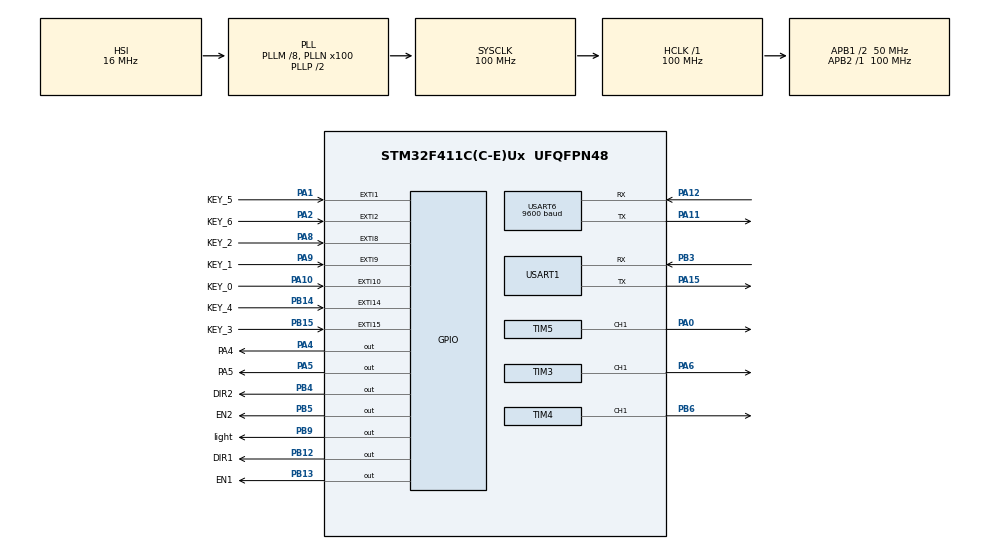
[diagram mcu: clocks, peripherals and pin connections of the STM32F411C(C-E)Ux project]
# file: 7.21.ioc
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Mcu.Family=STM32F4
Mcu.Name=STM32F411C(C-E)Ux
Mcu.Package=UFQFPN48
NVIC.PriorityGroup=NVIC_PRIORITYGROUP_4
NVIC.TIM2_IRQn=true\:0\:0\:false\:false\:true\:true\:true\:true
NVIC.USART1_IRQn=true\:0\:0\:false\:false\:true\:true\:true\:true
NVIC.USART6_IRQn=true\:0\:0\:false\:false\:true\:true\:true\:true
PA0-WKUP.Signal=S_TIM5_CH1
PA1.GPIO_Label=KEY_5
PA1.GPIO_PuPd=GPIO_PULLDOWN
PA1.Signal=GPXTI1
PA10.GPIO_Label=KEY_0
PA10.GPIO_PuPd=GPIO_PULLDOWN
PA10.Signal=GPXTI10
PA11.Mode=Asynchronous
PA11.Signal=USART6_TX
PA12.Mode=Asynchronous
PA12.Signal=USART6_RX
PA13.Mode=Serial_Wire
PA13.Signal=SYS_JTMS-SWDIO
PA14.Mode=Serial_Wire
PA14.Signal=SYS_JTCK-SWCLK
PA15.Mode=Asynchronous
PA15.Signal=USART1_TX
PA2.GPIO_Label=KEY_6
PA2.GPIO_PuPd=GPIO_PULLDOWN
PA2.Signal=GPXTI2
PA4.GPIO_Label=PA4
PA4.Signal=GPIO_Output
PA5.GPIO_Label=PA5
PA5.Signal=GPIO_Output
PA6.Signal=S_TIM3_CH1
PA8.GPIO_Label=KEY_2
PA8.GPIO_PuPd=GPIO_PULLDOWN
PA8.Signal=GPXTI8
PA9.GPIO_Label=KEY_1
PA9.GPIO_PuPd=GPIO_PULLDOWN
PA9.Signal=GPXTI9
PB12.GPIO_Label=DIR1
PB12.GPIO_PuPd=GPIO_PULLUP
PB12.Signal=GPIO_Output
PB13.GPIO_Label=EN1
PB13.GPIO_PuPd=GPIO_PULLUP
PB13.Signal=GPIO_Output
PB14.GPIO_Label=KEY_4
PB14.GPIO_PuPd=GPIO_PULLDOWN
PB14.Signal=GPXTI14
PB15.GPIO_Label=KEY_3
PB15.GPIO_PuPd=GPIO_PULLDOWN
PB15.Signal=GPXTI15
PB3.Mode=Asynchronous
PB3.Signal=USART1_RX
PB4.GPIO_Label=DIR2
PB4.GPIO_PuPd=GPIO_PULLUP
PB4.Signal=GPIO_Output
PB5.GPIO_Label=EN2
PB5.GPIO_PuPd=GPIO_PULLUP
PB5.Signal=GPIO_Output
PB6.Signal=S_TIM4_CH1
PB9.GPIO_Label=light
PB9.GPIO_PuPd=GPIO_PULLDOWN
PB9.GPIO_Speed=GPIO_SPEED_FREQ_LOW
PB9.PinState=GPIO_PIN_RESET
PB9.Signal=GPIO_Output
PH0\ -\ OSC_IN.Mode=HSE-External-Oscillator
PH0\ -\ OSC_IN.Signal=RCC_OSC_IN
PH1\ -\ OSC_OUT.Mode=HSE-External-Oscillator
PH1\ -\ OSC_OUT.Signal=RCC_OSC_OUT
ProjectManager.HeapSize=0x200
ProjectManager.StackSize=0x400
ProjectManager.TargetToolchain=MDK-ARM V5.32
RCC.48MHZClocksFreq_Value=50000000
RCC.AHBFreq_Value=100000000
RCC.APB1CLKDivider=RCC_HCLK_DIV2
RCC.APB1Freq_Value=50000000
RCC.APB1TimFreq_Value=100000000
RCC.APB2Freq_Value=100000000
RCC.APB2TimFreq_Value=100000000
RCC.CortexFreq_Value=100000000
RCC.HCLKFreq_Value=100000000
RCC.HSE_VALUE=25000000
RCC.HSI_VALUE=16000000
RCC.LSE_VALUE=32768
RCC.PLLM=8
RCC.PLLN=100
RCC.SYSCLKFreq_VALUE=100000000
RCC.SYSCLKSource=RCC_SYSCLKSOURCE_PLLCLK
RCC.VCOOutputFreq_Value=200000000
SH.S_TIM3_CH1.0=TIM3_CH1,PWM Generation1 CH1
SH.S_TIM4_CH1.0=TIM4_CH1,PWM Generation1 CH1
SH.S_TIM5_CH1.0=TIM5_CH1,PWM Generation1 CH1
TIM2.Period=9999
TIM2.Prescaler=9
TIM3.Channel-PWM\ Generation1\ CH1=TIM_CHANNEL_1
TIM3.Period=20000-1
TIM3.Prescaler=99
TIM4.Channel-PWM\ Generation1\ CH1=TIM_CHANNEL_1
TIM4.Period=20000-1
TIM4.Prescaler=99
TIM5.Channel-PWM\ Generation1\ CH1=TIM_CHANNEL_1
TIM5.Period=20000-1
TIM5.Prescaler=99
USART1.VirtualMode=VM_ASYNC
USART6.BaudRate=9600
USART6.VirtualMode=VM_ASYNC
VP_TIM2_VS_ClockSourceINT.Mode=Internal
VP_TIM3_VS_ClockSourceINT.Mode=Internal
VP_TIM4_VS_ClockSourceINT.Mode=Internal
VP_TIM5_VS_ClockSourceINT.Mode=Internal
board=custom

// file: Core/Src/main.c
/* USER CODE BEGIN Header */
/**
  ******************************************************************************
  * @file           : main.c
  * @brief          : Main program body
  ******************************************************************************
  * @attention
  *
  * Copyright (c) 2025 STMicroelectronics.
  * All rights reserved.
  *
  * This software is licensed under terms that can be found in the LICENSE file
  * in the root directory of this software component.
  * If no LICENSE file comes with this software, it is provided AS-IS.
  *
  ******************************************************************************
  */
/* USER CODE END Header */
#include "main.h"
#include "tim.h"
#include "usart.h"
#include "gpio.h"

/* USER CODE BEGIN Includes */
#include "Stepper_Motor.h"
#include "Delay.h"
#include "yuntai.h"
#include "oled.h"
#include "Bujin.h"
#include "usart_1.h"
#include "serial_it_config.h"
#include "math.h"
/* USER CODE END Includes */

/* USER CODE BEGIN PTD */
char RxBuffer[200],Rxcouter;
uint8_t Res;
char RxBuffer2[200],Rxcouter_2;
uint8_t Res_2;
int problem_flag;
int turn_flag;

extern UART_HandleTypeDef huart1;
extern UART_HandleTypeDef huart6;

//void HAL_UART_RxCpltCallback(UART_HandleTypeDef *huart)
//{
//
//		else if(huart->Instance == USART1)
//		{
//			HAL_UART_Receive_IT(&huart1, (uint8_t *)&Res_2, 1);
//			if(Res_2=='1') //转弯
//			{
//				Motor_Move_A(0,50);
//				delay_ms(800);
//				Motor_Move_A(0,0);
//				Res_2='0';
//
//			}
//			if(Res_2=='2')//竖线
//			{
//				turn_flag=2;
//			}
//			if(Res_2=='3')//远横线
//			{
//				turn_flag=3;
//			}
//			if(Res_2=='4')//近横线
//			{
//				turn_flag=4;
//			}
//			if(Res_2=='5')//近横线
//			{
//				turn_flag=5;
//			}
//			if(Res_2=='0')//近横线
//			{
//				turn_flag=0;
//				Motor_Move_A(0,0);
//			}
//		}
//    else if(huart->Instance == USART6)
//    {
//        UART3_RxCpltCallback(huart);
//    }
//}

/* USER CODE END PTD */

/* USER CODE BEGIN PV */
extern int current_x;
extern int current_y;
int target_X,target_Y;
int stop_flag;
/* USER CODE END PV */

void SystemClock_Config(void);

int main(void)
{

  /* USER CODE BEGIN 1 */
	extern int Flag;
	int send_flag=0;
	extern float Yaw;
	int reset_flag=0;
	extern int index_ms;
	int move_flag=0;
	int start_flag=0;
  /* USER CODE END 1 */

  /* MCU Configuration--------------------------------------------------------*/

  /* Reset of all peripherals, Initializes the Flash interface and the Systick. */
  HAL_Init();

  /* Configure the system clock */
  SystemClock_Config();

  /* Initialize all configured peripherals */
  MX_GPIO_Init();
  MX_TIM3_Init();
  MX_USART1_UART_Init();
  MX_USART6_UART_Init();
  MX_TIM2_Init();
  MX_TIM4_Init();
  MX_TIM5_Init();
  /* USER CODE BEGIN 2 */
	IMU_Init();
	HAL_UART_Receive_IT(&huart1, (uint8_t *)&Res_2, 1);

//	HAL_TIM_Base_Start_IT(&htim2);
	OLED_Init();
	USART_IT_Config();
	Stepper_Motor_Init();
	Stepper_Control_Init();
	HAL_GPIO_WritePin(GPIOB,light_Pin,1);

	delay_ms(1000);
//	test();

//	Speed_bujin();
//	uint8_t usart_sent2[11];
//	StepperMotor motor3 = {
//			.address = 0x02,
//			.huart = &huart6, // 替换为你的 UART 句柄
//			.mode = ABS_ANGLE_CTRL,
//			.subdivision = 0x20, // 32 细分
//			.speed_rads_x10 = 0x000A, // 10 rad/s (0x0064 = 100)
//	};
//	BuildPositionControlFrame(&motor3, 400, CW, usart_sent2);
//	USART_SendArray(usart_sent2,sizeof(usart_sent2));
//	sanjiao();

//	delay_ms(2000);
//	BuildPositionControlFrame(&motor2, 900, CW, usart_sent2); // 100.0° 逆时针
//	USART_SendArray(usart_sent2,sizeof(usart_sent2));
//	BuildPositionControlFrame(&motor1, 900, CW, usart_sent1); // 100.0° 逆时针
//	delay_ms(10);
//	USART_SendArray(usart_sent1,sizeof(usart_sent1));

  /* USER CODE END 2 */

  /* Infinite loop */
  while (1)
  {

    /* USER CODE BEGIN 3 */
//		OLED_Update();
//		IMU_Proc();
		delay_ms(100);
//		Stepper_Control(320,240);
//		DrawRectangle(460, 150, 220, 300, 200);
//		DrawPrecisionRectangle(200, 150, 400, 350);
//		DrawCircle(320, 240, 100, 500);
//		OLED_Printf(0,0,OLED_8X16,"ok");
//		OLED_Printf(0,16,OLED_8X16,"turn_flag:%d",turn_flag);

		if(problem_flag==1)
		{
			Stepper_Control(target_X,target_Y);

			if(stop_flag==1)
			{
				HAL_TIM_Base_Start_IT(&htim2);
//				move_flag=1;
//				start_flag=1;
//				delay_ms(1000);
			}
			if(index_ms>=1500)
			{
					HAL_GPIO_WritePin(GPIOB,light_Pin,0);
			}
		}

		if(problem_flag==2) //逆时针
		{
			if(send_flag==0)
			{
				UART1_SendChar('1');
				send_flag++;
			}
			if(reset_flag==0)
			{

				while(target_X==0)
				{
					Motor_Move_A(1,80);
					Motor_Move_B(1,5);

				}
				HAL_GPIO_WritePin(GPIOA, EN1_Pin, GPIO_PIN_RESET); // 停止电机
				reset_flag++;
			}
			Stepper_Control_UntilReached(target_X,target_Y);

			if(stop_flag==1)
			{
				stop_flag=0;
				HAL_TIM_Base_Start_IT(&htim2);
			}
			if(index_ms>=1000)
			{
				HAL_GPIO_WritePin(GPIOB,light_Pin,0);
			}
			if(index_ms>=2000)
			{
				HAL_TIM_PWM_Stop(&htim3, TIM_CHANNEL_1);
				HAL_TIM_PWM_Stop(&htim4, TIM_CHANNEL_1);

				problem_flag=0;
			}
		}
		if(problem_flag==3)//顺时针
		{
			if(send_flag==0)
			{
				UART1_SendChar('1');
				send_flag++;
			}
			if(reset_flag==0)
			{

				while(target_X==0)
				{
					Motor_Move_A(0,80);
					Motor_Move_B(1,5);

				}
				HAL_GPIO_WritePin(GPIOA, EN1_Pin, GPIO_PIN_RESET); // 停止电机
				reset_flag++;

			}

			Stepper_Control_UntilReached(target_X,target_Y);
			if(stop_flag==1)
			{
				stop_flag=0;
				HAL_TIM_Base_Start_IT(&htim2);
			}
			if(index_ms>=1000)
			{
				HAL_GPIO_WritePin(GPIOB,light_Pin,0);
			}
			if(index_ms>=2000)
			{
				HAL_TIM_PWM_Stop(&htim3, TIM_CHANNEL_1);
				HAL_TIM_PWM_Stop(&htim4, TIM_CHANNEL_1);

				problem_flag=0;
			}
		}
		if(problem_flag==4)
		{
			Stepper_Control(target_X,target_Y);

			if(stop_flag==1)
			{
				HAL_TIM_Base_Start_IT(&htim2);
//				move_flag=1;
//				start_flag=1;
//				delay_ms(1000);
			}
			if(index_ms>=1500)
			{
					HAL_GPIO_WritePin(GPIOB,light_Pin,0);
			}
//			Stepper_Control_UntilReached_fast(target_X,target_Y);

//			while(start_flag==1)
//			{
//				if(turn_flag==1)
//				{
//					Motor_Move_A(0,100);
//					delay_ms(700);
//				}
//				while(turn_flag==2)
//				{
//					Stepper_Control_UntilReached(target_X,target_Y);
//				}
//				while(turn_flag==3)
//				{
//					Motor_Move_A(0,60);
//					Stepper_Control_UntilReached_y();
//				}
//				while(turn_flag==4)
//				{
//					Motor_Move_A(0,80);
//					Stepper_Control_UntilReached_y();
//				}
//				while(turn_flag==5)
//				{
//					Stepper_Control_UntilReached(target_X,target_Y);
//				}
//			}
//			if(turn_flag==1)
//			{
//				delay_ms(300);
//				Motor_Move_A(0,90);
//				delay_ms(500);
//				turn_flag=0;
//			}
//			if(turn_flag==2)
//			{
//				Motor_Move_A(1,90);
//				delay_ms(500);
//				turn_flag=0;
//			}
		}
		while(problem_flag==5)
		{

//			while(turn_flag==0)
//			{
//				Stepper_Control(target_X,target_Y);
//			}
			while(turn_flag==1)
			{
				Motor_Move_A(0,80);
				UART1_SendByte(1);

			}
//			while(turn_flag==2||turn_flag==3)
//			{
//				Motor_Move_A(0,55);
//			}
		}
//			if(turn_flag==1)
//			{
//				Motor_Move_A(0,80);
//				delay_ms(500);
//				turn_flag=0;
//			}
		if(problem_flag==6)
		{
			HAL_TIM_Base_Stop(&htim2);
			index_ms=0;
			send_flag=0;
			reset_flag=0;
			Stepper_Motor_Init();
		}

//		Stepper_Control_UntilReached(200,100);
//		Stepper_Control_UntilReached(400,100);
//		Stepper_Control_UntilReached(400,200);
//		Stepper_Control_UntilReached(200,200);
//

//		    Motor_Move_B(0,1);	 //B是竖直
//				Motor_Move_A(0,15);  //A是水平
//
//				Motor_Move_A(0,2);
//				Motor_Move_B(1,15);

//				Motor_Move_A(0,5);
//				Motor_Move_B(0,2);
//
//				Motor_Move_B(0,2);
//				Motor_Move_A(0,5);
//
//				Motor_Move_B(0,5);
//				Motor_Move_A(0,2);

  }
  /* USER CODE END 3 */
}

void SystemClock_Config(void)
{
  RCC_OscInitTypeDef RCC_OscInitStruct = {0};
  RCC_ClkInitTypeDef RCC_ClkInitStruct = {0};

  /** Configure the main internal regulator output voltage
  */
  __HAL_RCC_PWR_CLK_ENABLE();
  __HAL_PWR_VOLTAGESCALING_CONFIG(PWR_REGULATOR_VOLTAGE_SCALE1);

  /** Initializes the RCC Oscillators according to the specified parameters
  * in the RCC_OscInitTypeDef structure.
  */
  RCC_OscInitStruct.OscillatorType = RCC_OSCILLATORTYPE_HSI;
  RCC_OscInitStruct.HSIState = RCC_HSI_ON;
  RCC_OscInitStruct.HSICalibrationValue = RCC_HSICALIBRATION_DEFAULT;
  RCC_OscInitStruct.PLL.PLLState = RCC_PLL_ON;
  RCC_OscInitStruct.PLL.PLLSource = RCC_PLLSOURCE_HSI;
  RCC_OscInitStruct.PLL.PLLM = 8;
  RCC_OscInitStruct.PLL.PLLN = 100;
  RCC_OscInitStruct.PLL.PLLP = RCC_PLLP_DIV2;
  RCC_OscInitStruct.PLL.PLLQ = 4;
  if (HAL_RCC_OscConfig(&RCC_OscInitStruct) != HAL_OK)
  {
    Error_Handler();
  }

  /** Initializes the CPU, AHB and APB buses clocks
  */
  RCC_ClkInitStruct.ClockType = RCC_CLOCKTYPE_HCLK|RCC_CLOCKTYPE_SYSCLK
                              |RCC_CLOCKTYPE_PCLK1|RCC_CLOCKTYPE_PCLK2;
  RCC_ClkInitStruct.SYSCLKSource = RCC_SYSCLKSOURCE_PLLCLK;
  RCC_ClkInitStruct.AHBCLKDivider = RCC_SYSCLK_DIV1;
  RCC_ClkInitStruct.APB1CLKDivider = RCC_HCLK_DIV2;
  RCC_ClkInitStruct.APB2CLKDivider = RCC_HCLK_DIV1;

  if (HAL_RCC_ClockConfig(&RCC_ClkInitStruct, FLASH_LATENCY_3) != HAL_OK)
  {
    Error_Handler();
  }
}

/* USER CODE BEGIN 4 */
//void HAL_TIM_PeriodElapsedCallback(TIM_HandleTypeDef *htim)
//{
//    if (htim == &htim2)  // X�ᶨʱ��
//    {
//        stepX();
//    }
//    else if (htim == &htim4)  // Y�ᶨʱ��
//    {
//        stepY();
//    }
//}
/* USER CODE END 4 */

void Error_Handler(void)
{
  __disable_irq();
  while (1)
  {
  }
}
